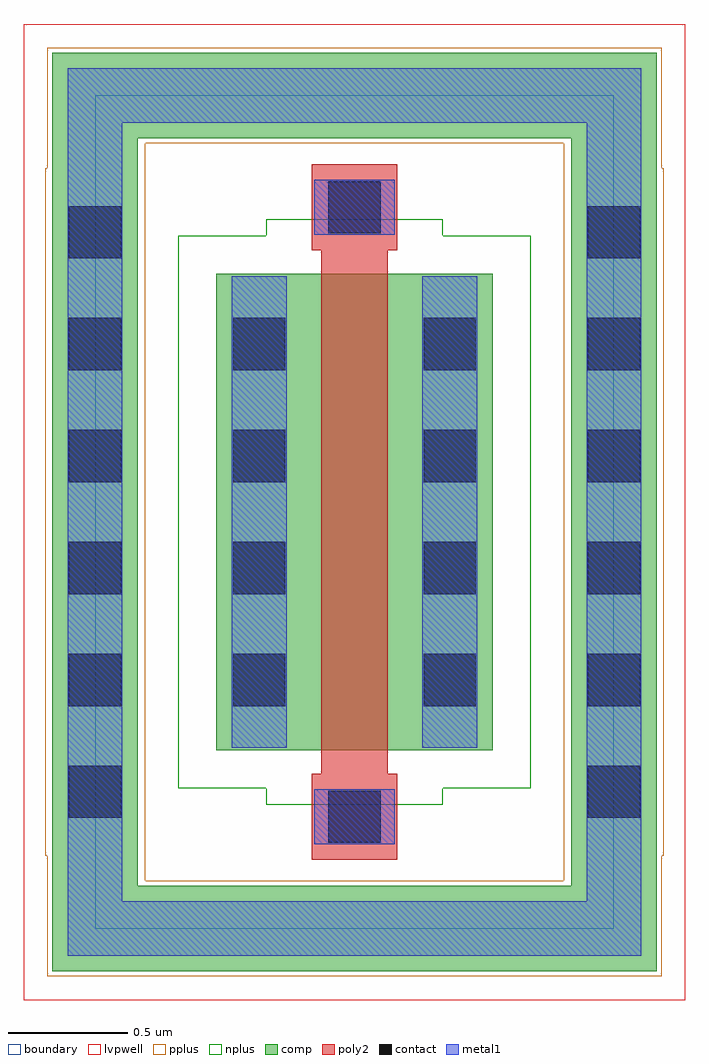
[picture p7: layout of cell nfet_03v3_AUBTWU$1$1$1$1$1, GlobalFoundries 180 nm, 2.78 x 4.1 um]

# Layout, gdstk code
import gdstk
lib = gdstk.Library(unit=1e-6, precision=1e-09)
def R(c, l, rs):  # rectangles x0, y0, x1, y1
    for r in rs: c.add(gdstk.rectangle(r[:2], r[2:], *l))
def A(c, l, x, y, w, h, nx, ny, dx, dy):  # array of equal rectangles
    R(c, l, [(x+i*dx, y+j*dy, x+i*dx+w, y+j*dy+h) for i in range(nx) for j in range(ny)])
boundary = (0, 0)
comp = (22, 0)
poly2 = (30, 0)
pplus = (31, 0)
nplus = (32, 0)
contact = (33, 0)
metal1 = (34, 0)
lvpwell = (204, 0)

nfet_03v3_aubtwu_1_1_1_1 = lib.new_cell('nfet_03v3_AUBTWU$1$1$1$1$1')
R(nfet_03v3_aubtwu_1_1_1_1, boundary, [(-1.09,-1.75,1.09,1.75)])
R(nfet_03v3_aubtwu_1_1_1_1, comp, [(-1.27,-1.93,1.27,-1.57), (-1.27,-1.57,-0.91,1.57), (0.91,-1.57,1.27,1.57), (-0.58,-1,0.58,1), (-1.27,1.57,1.27,1.93)])
R(nfet_03v3_aubtwu_1_1_1_1, poly2, [(-0.18,-1.46,0.18,-1.1), (-0.14,-1.1,0.14,1.1), (-0.18,1.1,0.18,1.46)])
R(nfet_03v3_aubtwu_1_1_1_1, pplus, [(-1.29,-1.95,1.29,-1.55), (-1.29,-1.55,-0.88,-1.445), (0.88,-1.55,1.29,-1.445), (-1.3,-1.445,-0.88,1.445), (0.88,-1.445,1.3,1.445), (-1.29,1.445,-0.88,1.55), (0.88,1.445,1.29,1.55), (-1.29,1.55,1.29,1.95)])
R(nfet_03v3_aubtwu_1_1_1_1, nplus, [(-0.37,-1.23,0.37,-1.16), (-0.74,-1.16,0.74,1.16), (-0.37,1.16,0.37,1.23)])
A(nfet_03v3_aubtwu_1_1_1_1, contact, -1.2, -1.285, 0.22, 0.22, 1, 6, 0, 0.47)
A(nfet_03v3_aubtwu_1_1_1_1, contact, 0.98, -1.285, 0.22, 0.22, 1, 6, 0, 0.47)
A(nfet_03v3_aubtwu_1_1_1_1, contact, -0.51, -0.815, 0.22, 0.22, 1, 4, 0, 0.47)
A(nfet_03v3_aubtwu_1_1_1_1, contact, 0.29, -0.815, 0.22, 0.22, 1, 4, 0, 0.47)
R(nfet_03v3_aubtwu_1_1_1_1, contact, [(-0.11,-1.39,0.11,-1.17), (-0.11,1.17,0.11,1.39)])
R(nfet_03v3_aubtwu_1_1_1_1, metal1, [(-1.205,-1.865,1.205,-1.635), (-1.205,-1.635,-0.975,1.635), (0.975,-1.635,1.205,1.635), (-0.17,-1.395,0.17,-1.165), (-0.515,-0.99,-0.285,0.99), (0.285,-0.99,0.515,0.99), (-0.17,1.165,0.17,1.395), (-1.205,1.635,1.205,1.865)])
R(nfet_03v3_aubtwu_1_1_1_1, lvpwell, [(-1.39,-2.05,1.39,2.05)])

lib.write_gds('nfet_03v3_AUBTWU_1_1_1_1_1.gds')
